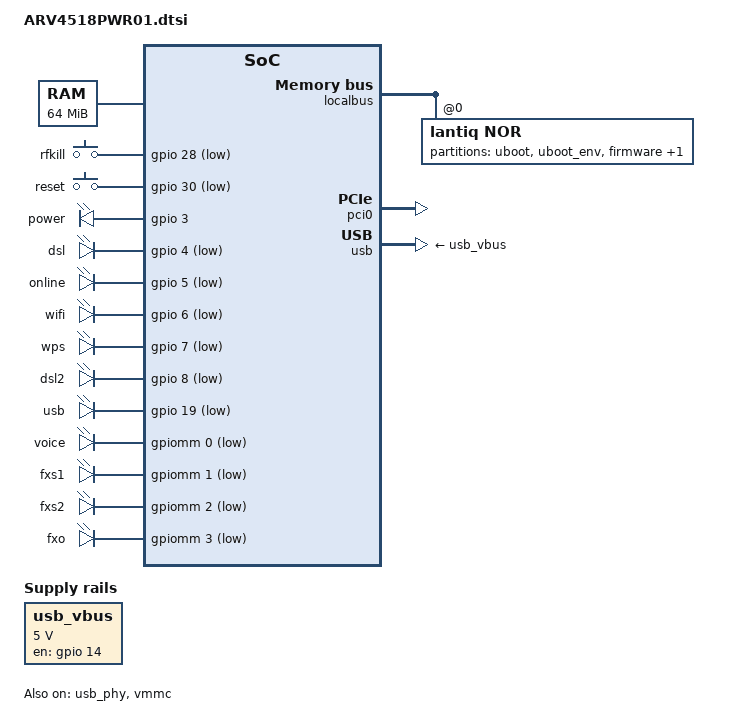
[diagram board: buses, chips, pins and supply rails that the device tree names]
#include "danube.dtsi"

#include <dt-bindings/input/input.h>

/ {
	chosen {
		bootargs = "console=ttyLTQ0,115200";
	};

	aliases {
		led-boot = &power;
		led-failsafe = &power;
		led-running = &power;

		led-dsl = &dsl;
		led-internet = &online;
		led-usb = &led_usb;
		led-wifi = &wifi;
	};

	memory@0 {
		reg = <0x0 0x4000000>;
	};

	ath5k_eep {
		compatible = "ath5k,eeprom";
		ath,eep-flash = <&boardconfig 0x400>;
		ath,mac-offset = <0x16>;
		ath,mac-increment = <1>;
		ath,eep-swap;
	};

	gpio-keys-polled {
		compatible = "gpio-keys-polled";
		#address-cells = <1>;
		#size-cells = <0>;
		poll-interval = <100>;

		rfkill {
			label = "rfkill";
			gpios = <&gpio 28 GPIO_ACTIVE_LOW>;
			linux,code = <KEY_RFKILL>;
		};
		reset {
			label = "reset";
			gpios = <&gpio 30 GPIO_ACTIVE_LOW>;
			linux,code = <KEY_RESTART>;
		};
	};

	gpio-leds {
		compatible = "gpio-leds";
		power: power {
			label = "power";
			gpios = <&gpio 3 GPIO_ACTIVE_HIGH>;
			default-state = "keep";
		};
		dsl: dsl {
			label = "dsl";
			gpios = <&gpio 4 GPIO_ACTIVE_LOW>;
		};
		online: online {
			label = "online";
			gpios = <&gpio 5 GPIO_ACTIVE_LOW>;
		};
		wifi: wifi {
			label = "wifi";
			gpios = <&gpio 6 GPIO_ACTIVE_LOW>;
		};
		wps {
			label = "wps";
			gpios = <&gpio 7 GPIO_ACTIVE_LOW>;
		};
		dsl2 {
			label = "dsl2";
			gpios = <&gpio 8 GPIO_ACTIVE_LOW>;
		};
		led_usb: usb {
			label = "usb";
			gpios = <&gpio 19 GPIO_ACTIVE_LOW>;
		};
		voice {
			label = "voice";
			gpios = <&gpiomm 0 GPIO_ACTIVE_LOW>;
		};
		fxs1 {
			label = "fxs1";
			gpios = <&gpiomm 1 GPIO_ACTIVE_LOW>;
		};
		fxs2 {
			label = "fxs2";
			gpios = <&gpiomm 2 GPIO_ACTIVE_LOW>;
		};
		fxo {
			label = "fxo";
			gpios = <&gpiomm 3 GPIO_ACTIVE_LOW>;
		};
	};

	usb_vbus: regulator-usb-vbus {
		compatible = "regulator-fixed";

		regulator-name = "USB_VBUS";

		regulator-min-microvolt = <5000000>;
		regulator-max-microvolt = <5000000>;

		gpio = <&gpio 14 GPIO_ACTIVE_HIGH>;
		enable-active-high;
	};
};

&gpio {
	pinctrl-names = "default";
	pinctrl-0 = <&state_default>;

	state_default: pinmux {
		ebu {
			lantiq,groups = "ebu cs1";
			lantiq,function = "ebu";
		};
		pci_in {
			lantiq,groups = "req1", "req2";
			lantiq,function = "pci";
			lantiq,open-drain = <1>;
			lantiq,pull = <2>;
			lantiq,output = <0>;
		};
		pci_out {
			lantiq,groups = "gnt1", "gnt2";
			lantiq,function = "pci";
			lantiq,pull = <0>;
			lantiq,output = <1>;
		};
	};
};

&gpiomm {
	status = "okay";
	lantiq,shadow = <0x0>;
};

&gsw {
	phy-mode = "mii";
	mtd-mac-address = <&boardconfig 0x16>;
};

&localbus {
	nor@0 {
		compatible = "lantiq,nor";
		bank-width = <2>;
		reg = <0 0x0 0x2000000>;
		#address-cells = <1>;
		#size-cells = <1>;

		partitions {
			compatible = "fixed-partitions";
			#address-cells = <1>;
			#size-cells = <1>;

			partition@0 {
				label = "uboot";
				reg = <0x00000 0x10000>; /* 64 KB */
				read-only;
			};

			partition@10000 {
				label = "uboot_env";
				reg = <0x10000 0x10000>; /* 64 KB */
				read-only;
			};

			partition@20000 {
				label = "firmware";
				reg = <0x20000 0x3d0000>;
			};

			boardconfig: partition@400000 {
				label = "boardconfig";
				reg = <0x3f0000 0x10000>;
				read-only;
			};
		};
	};
};

&pci0 {
	status = "okay";
	gpio-reset = <&gpio 21 GPIO_ACTIVE_HIGH>;
	req-mask = <0xf>;
};

&usb_phy {
	status = "okay";
};

&usb {
	status = "okay";
	vbus-supply = <&usb_vbus>;
};

&vmmc {
	status = "okay";
	gpios = <&gpio 31 GPIO_ACTIVE_HIGH>;
};
